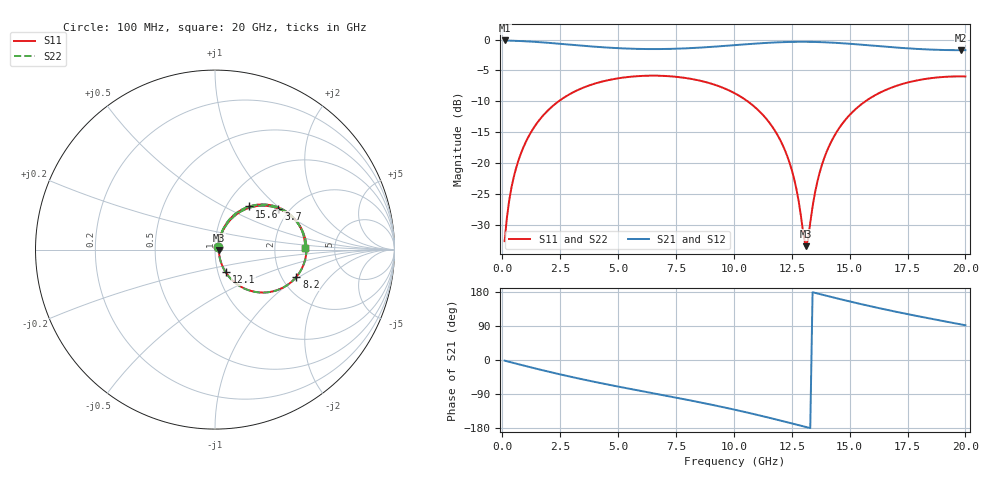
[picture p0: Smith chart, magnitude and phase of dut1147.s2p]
! Touchstone file exported from HFSS 2026.1.0
!  File:  C:/ffzhzh/LocalFiles/Ansys_Project_Files/temp_train_TSV_RDL_1147_1783310255_5512.aedt
!  Generated:  12:09:59 PM Jul  6, 2026
!  Design:  TSV_RDL
!  Project:  temp_train_TSV_RDL_1147_1783310255_5512
! Variables:
!  h_bsmrdl = 5.81um
!  h_ox = 20um
!  h_rdl = 5um
!  h_sub = 59um
!  h_tmrdl = 3.21um
!  h_tsv = 59um
!  h_via = 3um
!  l_bsmrdl = 356.7um
!  l_sub = 4737.94um
!  l_tmrdl = 781.5um
!  m_sub = 200um
!  pitch = 55.17um
!  r_tsv = 14.36um
!  s_tmrdl = 10um
!  w_bsmrdl = 19.26um
!  w_sub = 500um
!  w_tmrdl = 28.02um
!  x_tsv_center1 = 795.51um
!  x_tsv_center2 = 1171.47um
!  x_tsv_center3 = 1980.99um
!  x_tsv_center4 = 2356.95um
!  x_tsv_center5 = 3166.47um
!  x_tsv_center6 = 3542.43um
# GHz S MA R 50.000000
! Terminal data exported
! Port[1] = TM_RDL1_1_T1
! Port[2] = TM_RDL5_1_T1
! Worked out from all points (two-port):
!   200 points, 100 MHz to 20 GHz, reference 50 ohm
!   highest |S21| = -0.15 dB at 100 MHz (marker M1); lowest = -1.7 dB at 19.8 GHz (marker M2)
!   |S21| within 3 dB of the highest: start of sweep to end of sweep
!   lowest |S11| = -33.5 dB at 13.1 GHz (marker M3), VSWR 1.04, Z = 52.1 - j0.205 ohm
!   |S11| at or under -10 dB: start of sweep to 2.438 GHz; 10.59 GHz to 15.69 GHz (5.097 GHz wide, 38.8 % of centre)
!   |S22| runs from -33.7 to -5.9 dB; largest |S21 - S12| = 2e-14
!   S11 on the Smith chart (normalised r, x): 100 MHz: 1.03, +0.03; 3.7 GHz: 1.75, +0.97; 8.2 GHz: 2.40, -0.94; 12.1 GHz: 1.09, -0.28; 15.6 GHz: 1.27, +0.68; 20 GHz: 3.01, +0.05
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0.1  0.02317 42.3  0.9832 -1.7  0.9832 -1.7  0.02317 42.3
! Gamma 0 0 0 0
! Port Impedance 50 0 50 0
0.3  0.04986 63.2  0.9804 -4.9  0.9804 -4.9  0.04986 63.2
0.5  0.07747 67.1  0.9774 -8.1  0.9774 -8.1  0.07747 67.1
1.1  0.1589 64.9  0.966 -17.4  0.966 -17.4  0.159 64.9
2.1  0.2807 53.1  0.9372 -32.3  0.9372 -32.3  0.2807 53.1
3.5  0.4074 35.4  0.89 -51.5  0.89 -51.5  0.4074 35.4
3.7  0.4211 32.9  0.8837 -54.1  0.8837 -54.1  0.4211 32.9
6.8  0.5087 -2.7  0.8375 -91.1  0.8375 -91.1  0.5087 -2.7
8.2  0.4782 -18.5  0.8534 -107.6  0.8534 -107.6  0.4782 -18.6
10.1  0.3616 -41.4  0.9028 -132.0  0.9028 -132.0  0.3617 -41.5
11.3  0.2396 -56.4  0.9368 -149.1  0.9368 -149.1  0.2397 -56.5
12.1  0.1406 -64.6  0.9528 -161.1  0.9528 -161.1  0.1406 -64.8
12.6  0.07469 -64.4  0.958 -168.8  0.958 -168.8  0.07466 -64.8
13.1  0.02112 -5.3  0.9588 -176.6  0.9588 -176.6  0.02055 -5.9
13.2  0.02379 28.5  0.9584 -178.1  0.9584 -178.1  0.0232 28.9
13.4  0.0442 58.9  0.9571 178.8  0.9571 178.8  0.04379 59.5
13.7  0.08267 68.0  0.9538 174.1  0.9538 174.1  0.08237 68.4
14.2  0.1478 67.0  0.9451 166.5  0.9451 166.5  0.1475 67.3
15.6  0.3078 51.4  0.9058 146.0  0.9058 146.0  0.3076 51.5
16.7  0.4002 38.0  0.8707 131.2  0.8707 131.2  0.4 38.0
19.8  0.5026 2.9  0.8199 94.0  0.8199 94.0  0.5024 3.0
20  0.502 0.7  0.8203 91.6  0.8203 91.6  0.5018 0.8
